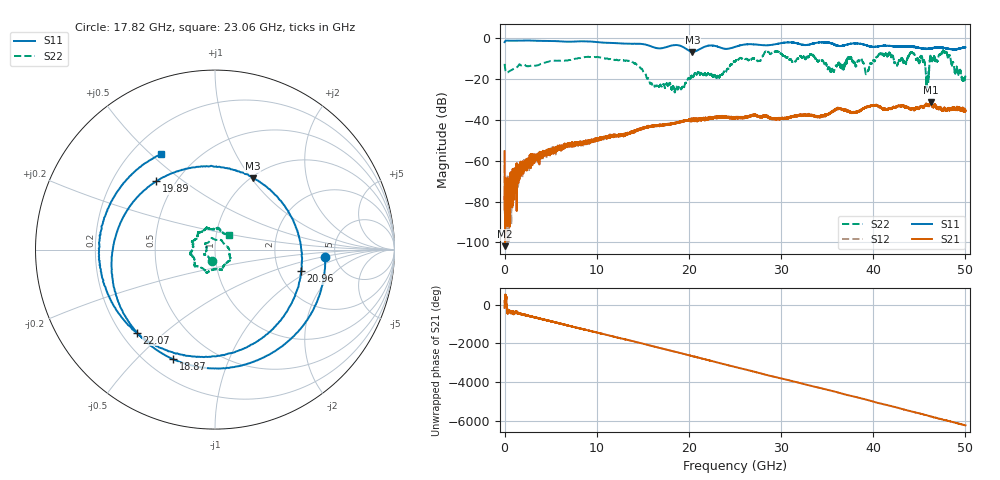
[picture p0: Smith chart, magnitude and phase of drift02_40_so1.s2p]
!Created with skrf (http://scikit-rf.org).
# Hz S RI R 50.0
!freq ReS11 ImS11 ReS21 ImS21 ReS12 ImS12 ReS22 ImS22
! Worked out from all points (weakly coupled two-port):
!   10001 points, 300 kHz to 50 GHz, reference 50 ohm
!   highest |S21| = -31.51 dB at 46.22 GHz (marker M1); lowest = -101.8 dB at 45.3 MHz (marker M2)
!   lowest |S11| = -6.9 dB at 20.38 GHz (marker M3), VSWR 2.64, Z = 51.1 + j51 ohm
!   |S11| at or under -10 dB: nowhere
!   |S22| runs from -26.7 to -6.1 dB; largest |S21 - S12| = 0.0037
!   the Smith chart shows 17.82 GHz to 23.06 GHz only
!   S11 on the Smith chart (normalised r, x): 17.82 GHz: 4.14, -0.53; 18.87 GHz: 0.30, -0.65; 19.89 GHz: 0.39, +0.40; 20.96 GHz: 2.65, -0.84; 22.07 GHz: 0.26, -0.41; 23.06 GHz: 0.32, +0.54
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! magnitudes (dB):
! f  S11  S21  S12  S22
! 300 kHz  -2.1  -55.4  -57.5  -12.8
! 45.3 MHz  -1.7  -101.8  -84.2  -14.7
! 255.3 MHz  -1.4  -83.7  -69.9  -17.0
! 3.02 GHz  -1.4  -59.3  -58.0  -13.5
! 8.335 GHz  -1.7  -51.7  -51.7  -9.7
! 13.7 GHz  -2.9  -46.2  -46.4  -11.7
! 16.67 GHz  -5.2  -42.7  -42.8  -23.6
! 17.82 GHz  -4.2  -42.4  -42.1  -23.4
! 18.87 GHz  -3.7  -41.3  -41.3  -24.4
! 19.89 GHz  -6.0  -40.4  -40.4  -20.1
! 20.38 GHz  -6.9  -40.3  -40.2  -18.9
! 20.96 GHz  -6.1  -40.2  -39.6  -17.0
! 22.07 GHz  -3.9  -39.8  -39.3  -17.5
! 23.06 GHz  -4.3  -38.5  -38.9  -18.9
! 25 GHz  -4.5  -38.9  -39.5  -11.5
! 33.34 GHz  -3.0  -38.0  -37.8  -8.4
! 39.32 GHz  -3.8  -33.7  -33.8  -16.9
! 41.67 GHz  -3.9  -34.8  -34.6  -7.8
! 45.85 GHz  -5.5  -33.2  -32.8  -20.4
! 46.22 GHz  -5.2  -31.5  -31.7  -9.6
! 47.75 GHz  -5.0  -34.7  -34.5  -7.0
! 50 GHz  -4.7  -35.8  -35.8  -18.9
